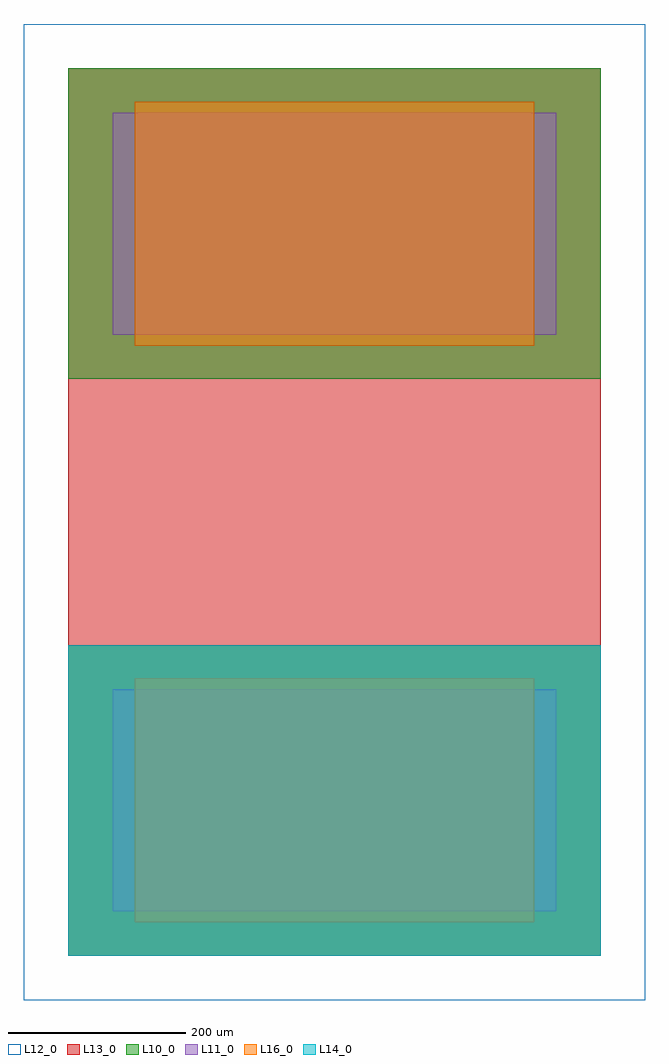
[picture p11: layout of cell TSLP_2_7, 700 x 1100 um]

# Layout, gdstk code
import gdstk
lib = gdstk.Library(unit=1e-6, precision=1e-09)
def R(c, l, rs):  # rectangles x0, y0, x1, y1
    for r in rs: c.add(gdstk.rectangle(r[:2], r[2:], *l))
L10_0 = (10, 0)
L11_0 = (11, 0)
L12_0 = (12, 0)
L13_0 = (13, 0)
L14_0 = (14, 0)
L16_0 = (16, 0)

tslp_2_7 = lib.new_cell('TSLP_2_7')
R(tslp_2_7, L10_0, [(-300,-500,300,-150), (-300,150,300,500)])
R(tslp_2_7, L11_0, [(-250,-450,250,-200), (-250,200,250,450)])
R(tslp_2_7, L12_0, [(-350,-550,350,550)])
R(tslp_2_7, L13_0, [(-300,-500,300,500)])
R(tslp_2_7, L14_0, [(-300,-500,300,-150)])
R(tslp_2_7, L16_0, [(-225,-462.5,225,-187.5), (-225,187.5,225,462.5)])

lib.write_gds('TSLP_2_7.gds')
